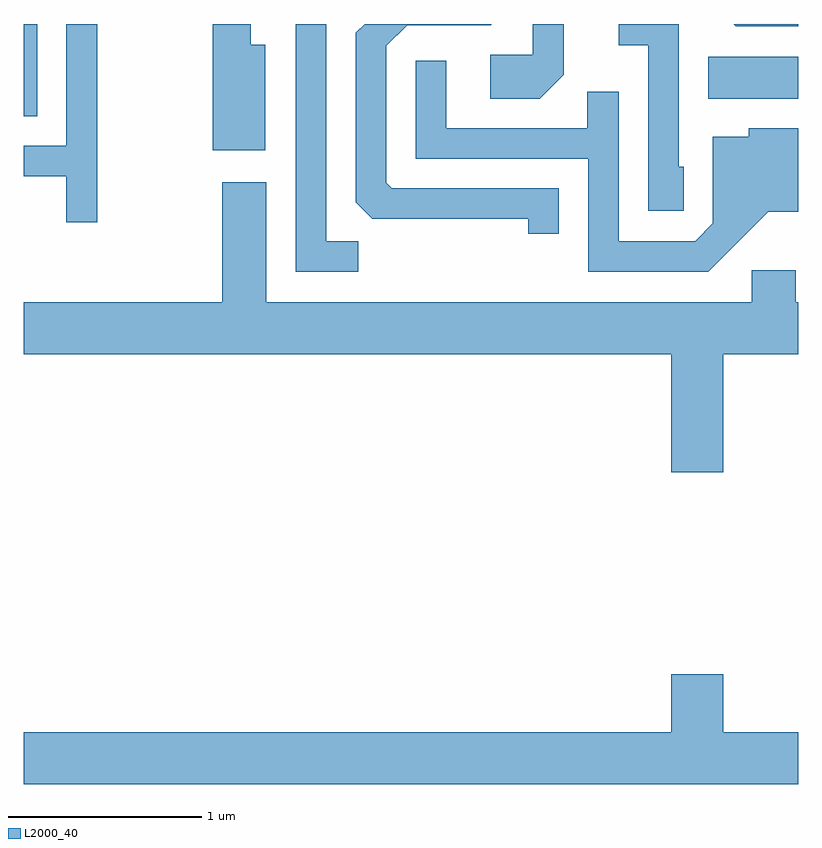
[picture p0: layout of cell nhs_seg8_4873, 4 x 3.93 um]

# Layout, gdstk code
import gdstk
lib = gdstk.Library(unit=1e-6, precision=1e-09)
def R(c, l, rs):  # rectangles x0, y0, x1, y1
    for r in rs: c.add(gdstk.rectangle(r[:2], r[2:], *l))
def P(c, l, *ps):  # polygons
    for p in ps: c.add(gdstk.Polygon(p, *l))
L2000_40 = (2000, 40)

nhs_seg8_4873 = lib.new_cell('nhs_seg8_4873')
R(nhs_seg8_4873, L2000_40, [(331.611,1839.866,331.679,1840.342), (335.146,1839.956,335.611,1840.174)])
P(nhs_seg8_4873, L2000_40, [(331.989,1840.342),(331.831,1840.342),(331.831,1839.714),(331.611,1839.714),(331.611,1839.556),(331.831,1839.556),(331.831,1839.318),(331.989,1839.318)],
  [(333.338,1839.219),(333.174,1839.219),(333.174,1840.342),(333.016,1840.342),(333.016,1839.061),(333.338,1839.061)],
  [(334.374,1839.494),(333.512,1839.494),(333.484,1839.522),(333.484,1840.229),(333.592,1840.336),(334.022,1840.336),(334.028,1840.342),(333.371,1840.342),(333.326,1840.297),(333.326,1839.422),(333.412,1839.336),(334.216,1839.336),(334.216,1839.258),(334.374,1839.258)],
  [(335.019,1839.604),(334.994,1839.604),(334.994,1840.342),(334.683,1840.342),(334.683,1840.231),(334.836,1840.231),(334.836,1839.376),(335.019,1839.376)],
  [(334.399,1840.079),(334.399,1840.342),(334.241,1840.342),(334.241,1840.184),(334.021,1840.184),(334.021,1839.956),(334.277,1839.956)],
  [(335.611,1840.342),(335.278,1840.342),(335.289,1840.331),(335.611,1840.331)],
  [(332.859,1840.234),(332.784,1840.234),(332.784,1840.342),(332.586,1840.342),(332.586,1839.691),(332.859,1839.691)],
  [(335.457,1839.371),(335.611,1839.371),(335.611,1839.804),(335.356,1839.804),(335.356,1839.759),(335.171,1839.759),(335.171,1839.312),(335.079,1839.219),(334.684,1839.219),(334.684,1839.993),(334.521,1839.993),(334.521,1839.804),(333.794,1839.804),(333.794,1840.153),(333.636,1840.153),(333.636,1839.646),(334.526,1839.646),(334.526,1839.061),(335.147,1839.061)],
  [(335.224,1838.636),(335.611,1838.636),(335.611,1838.904),(335.599,1838.904),(335.599,1839.069),(335.371,1839.069),(335.371,1838.904),(332.864,1838.904),(332.864,1839.524),(332.636,1839.524),(332.636,1838.904),(331.611,1838.904),(331.611,1838.636),(334.956,1838.636),(334.956,1838.026),(335.224,1838.026)],
  [(335.611,1836.684),(335.224,1836.684),(335.224,1836.984),(334.956,1836.984),(334.956,1836.684),(331.611,1836.684),(331.611,1836.416),(335.611,1836.416)])

lib.write_gds('nhs_seg8_4873.gds')
